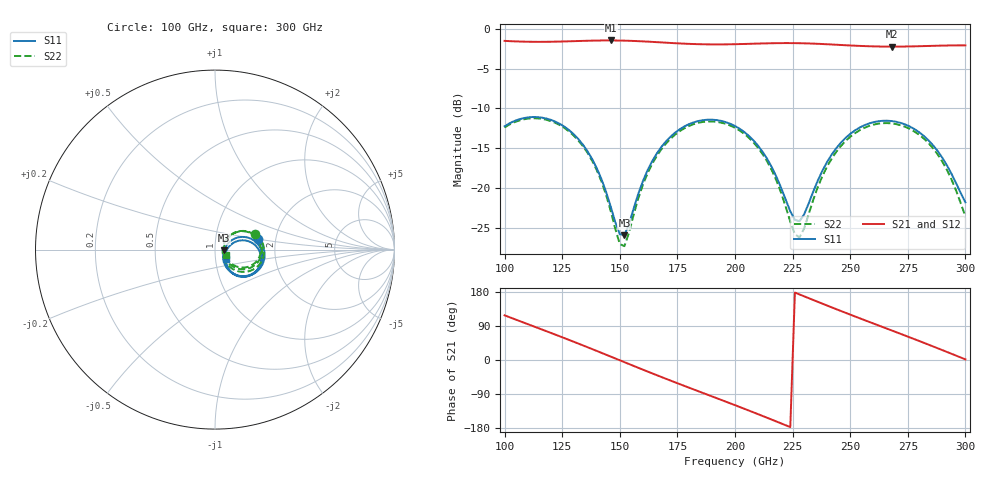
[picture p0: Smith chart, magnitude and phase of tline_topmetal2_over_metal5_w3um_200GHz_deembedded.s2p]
! Created with skrf 2.0.1 (http://scikit-rf.org).
# GHz S DB R 50.0
!freq dBS11 angS11 dBS21 angS21 dBS12 angS12 dBS22 angS22
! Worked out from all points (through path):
!   101 points, 100 GHz to 300 GHz, reference 50 ohm
!   highest |S21| = -1.46 dB at 146 GHz (marker M1); lowest = -2.2 dB at 268 GHz (marker M2)
!   group delay of S21, straight-line fit = 6.63 ps
!   lowest |S11| = -25.9 dB at 152 GHz (marker M3), VSWR 1.11, Z = 55.3 - j0.434 ohm
!   |S11| at or under -10 dB: start of sweep to end of sweep
!   |S22| runs from -27.3 to -11.2 dB; largest |S21 - S12| = 1.4e-14
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100  -12.23 14.1  -1.51 117.9  -1.51 117.9  -12.38 21.0
108  -11.23 -1.4  -1.60 99.4  -1.60 99.4  -11.38 5.9
118  -11.25 -20.9  -1.63 76.3  -1.63 76.3  -11.41 -13.2
134  -14.55 -49.9  -1.51 38.5  -1.51 38.5  -14.74 -42.0
140  -17.50 -56.8  -1.47 23.9  -1.47 23.9  -17.75 -49.4
146  -22.29 -52.0  -1.46 9.1  -1.46 9.1  -22.82 -45.9
150  -25.81 -26.0  -1.47 -0.8  -1.47 -0.8  -27.04 -18.7
152  -25.93 -4.4  -1.48 -5.7  -1.48 -5.7  -27.30 6.7
160  -19.15 29.5  -1.57 -25.4  -1.57 -25.4  -19.61 43.6
168  -14.85 22.8  -1.70 -44.7  -1.70 -44.7  -15.14 36.3
184  -11.58 -4.8  -1.92 -82.2  -1.92 -82.2  -11.81 8.5
200  -12.21 -34.2  -1.93 -119.2  -1.93 -119.2  -12.43 -21.0
214  -16.35 -54.2  -1.82 -152.6  -1.82 -152.6  -16.68 -42.4
226  -24.00 -27.5  -1.79 178.0  -1.79 178.0  -25.81 -16.2
228  -24.16 -11.5  -1.80 173.0  -1.80 173.0  -26.21 4.3
234  -20.42 17.9  -1.85 158.3  -1.85 158.3  -21.44 39.6
240  -16.71 20.2  -1.93 143.7  -1.93 143.7  -17.28 41.0
248  -13.70 11.1  -2.06 124.5  -2.06 124.5  -14.09 30.9
258  -11.90 -5.3  -2.18 101.1  -2.18 101.1  -12.22 13.8
268  -11.58 -22.9  -2.23 78.0  -2.23 78.0  -11.88 -4.2
286  -14.64 -50.9  -2.13 35.7  -2.13 35.7  -15.02 -34.3
300  -21.80 -40.4  -2.07 1.6  -2.07 1.6  -23.57 -27.6
